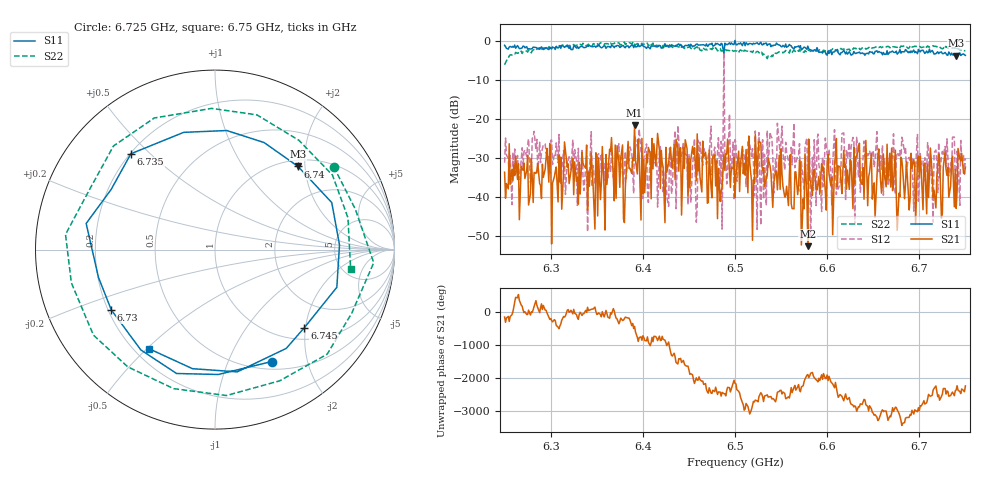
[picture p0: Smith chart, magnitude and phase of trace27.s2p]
# Hz S RI R 50
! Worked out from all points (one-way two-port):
!   401 points, 6.25 GHz to 6.75 GHz, reference 50 ohm
!   highest |S21| = -21.42 dB at 6.391 GHz (marker M1); lowest = -52.5 dB at 6.579 GHz (marker M2)
!   lowest |S11| = -3.7 dB at 6.74 GHz (marker M3), VSWR 4.79, Z = 56.7 + j92 ohm
!   |S11| at or under -10 dB: nowhere
!   |S22| runs from -6.0 to -0.1 dB; largest |S21 - S12| = 0.7
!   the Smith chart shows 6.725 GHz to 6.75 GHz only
!   S11 on the Smith chart (normalised r, x): 6.725 GHz: 0.60, -1.45; 6.73 GHz: 0.21, -0.26; 6.735 GHz: 0.20, +0.44; 6.74 GHz: 1.13, +1.84; 6.745 GHz: 1.28, -1.97; 6.75 GHz: 0.26, -0.51
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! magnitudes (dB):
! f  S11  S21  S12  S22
! 6.25 GHz  -1.0  -33.5  -31.1  -6.0
! 6.334 GHz  -1.2  -28.5  -28.0  -0.9
! 6.356 GHz  -1.5  -27.0  -29.0  -0.6
! 6.375 GHz  -1.5  -37.4  -32.7  -0.7
! 6.38 GHz  -1.5  -46.5  -32.9  -0.1
! 6.391 GHz  -1.0  -21.4  -24.4  -0.7
! 6.418 GHz  -1.0  -27.9  -28.7  -1.0
! 6.5 GHz  0.3  -40.0  -25.2  -2.4
! 6.519 GHz  -0.8  -51.0  -27.5  -2.8
! 6.525 GHz  -0.6  -29.0  -26.5  -2.6
! 6.579 GHz  -1.2  -52.5  -36.6  -2.2
! 6.584 GHz  -2.4  -39.5  -29.7  -2.3
! 6.634 GHz  -2.8  -27.8  -34.9  -2.0
! 6.651 GHz  -3.2  -36.3  -32.3  -1.6
! 6.668 GHz  -2.7  -28.7  -35.1  -1.5
! 6.678 GHz  -2.7  -38.9  -29.4  -1.3
! 6.725 GHz  -3.1  -44.0  -28.2  -1.9
! 6.73 GHz  -3.5  -34.4  -25.0  -1.4
! 6.735 GHz  -3.0  -30.6  -34.2  -1.8
! 6.74 GHz  -3.7  -42.8  -37.7  -2.2
! 6.745 GHz  -3.6  -30.7  -25.4  -2.1
! 6.75 GHz  -3.6  -32.3  -29.9  -2.3
